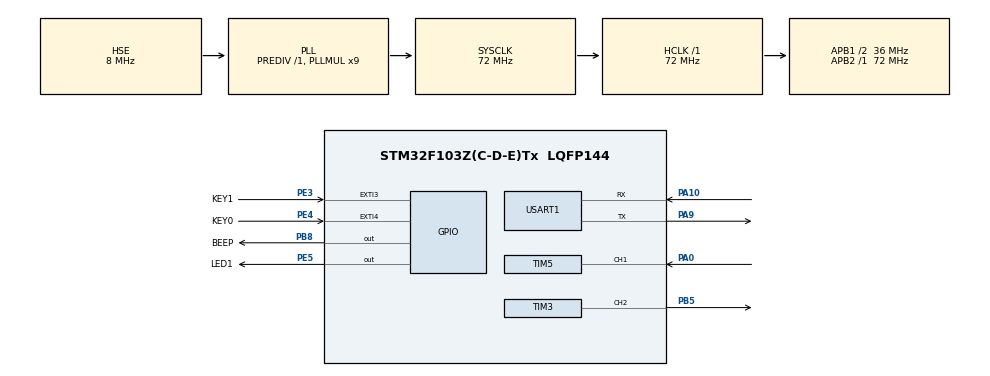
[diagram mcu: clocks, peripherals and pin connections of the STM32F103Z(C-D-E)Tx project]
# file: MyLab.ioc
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IWDG.Prescaler=IWDG_PRESCALER_64
IWDG.Reload=500
Mcu.Family=STM32F1
Mcu.Name=STM32F103Z(C-D-E)Tx
Mcu.Package=LQFP144
NVIC.EXTI3_IRQn=true\:2\:0\:true\:false\:true\:true\:true
NVIC.EXTI4_IRQn=true\:2\:0\:true\:false\:true\:true\:true
NVIC.PriorityGroup=NVIC_PRIORITYGROUP_4
NVIC.TIM3_IRQn=true\:1\:0\:true\:false\:true\:true\:true
NVIC.USART1_IRQn=true\:3\:0\:true\:false\:true\:true\:true
NVIC.WWDG_IRQn=true\:2\:0\:true\:false\:true\:true\:true
OSC_IN.Mode=HSE-External-Oscillator
OSC_IN.Signal=RCC_OSC_IN
OSC_OUT.Mode=HSE-External-Oscillator
OSC_OUT.Signal=RCC_OSC_OUT
PA0-WKUP.GPIO_PuPd=GPIO_PULLDOWN
PA0-WKUP.Signal=S_TIM5_CH1
PA10.Mode=Asynchronous
PA10.Signal=USART1_RX
PA13.Mode=Serial_Wire
PA13.Signal=SYS_JTMS-SWDIO
PA14.Mode=Serial_Wire
PA14.Signal=SYS_JTCK-SWCLK
PA9.Mode=Asynchronous
PA9.Signal=USART1_TX
PB4.Signal=S_TIM3_CH1
PB5.Signal=S_TIM3_CH2
PB8.GPIO_Label=BEEP
PB8.GPIO_PuPd=GPIO_PULLUP
PB8.GPIO_Speed=GPIO_SPEED_FREQ_HIGH
PB8.Signal=GPIO_Output
PE3.GPIO_Label=KEY1
PE3.GPIO_ModeDefaultEXTI=GPIO_MODE_IT_FALLING
PE3.GPIO_PuPd=GPIO_PULLUP
PE3.Signal=GPXTI3
PE4.GPIO_Label=KEY0
PE4.GPIO_ModeDefaultEXTI=GPIO_MODE_IT_FALLING
PE4.GPIO_PuPd=GPIO_PULLUP
PE4.Signal=GPXTI4
PE5.GPIO_Label=LED1
PE5.GPIO_PuPd=GPIO_PULLUP
PE5.GPIO_Speed=GPIO_SPEED_FREQ_HIGH
PE5.PinState=GPIO_PIN_SET
PE5.Signal=GPIO_Output
ProjectManager.HeapSize=0x200
ProjectManager.StackSize=0x400
ProjectManager.TargetToolchain=Makefile
RCC.AHBFreq_Value=72000000
RCC.APB1CLKDivider=RCC_HCLK_DIV2
RCC.APB1Freq_Value=36000000
RCC.APB1TimFreq_Value=72000000
RCC.APB2Freq_Value=72000000
RCC.APB2TimFreq_Value=72000000
RCC.HCLKFreq_Value=72000000
RCC.PLLMUL=RCC_PLL_MUL9
RCC.PLLSourceVirtual=RCC_PLLSOURCE_HSE
RCC.SYSCLKFreq_VALUE=72000000
RCC.SYSCLKSource=RCC_SYSCLKSOURCE_PLLCLK
RCC.USBFreq_Value=72000000
SH.S_TIM3_CH1.0=TIM3_CH1
SH.S_TIM3_CH2.0=TIM3_CH2,PWM Generation2 CH2
SH.S_TIM5_CH1.0=TIM5_CH1,Input_Capture1_from_TI1
TIM3.AutoReloadPreload=TIM_AUTORELOAD_PRELOAD_ENABLE
TIM3.Channel-PWM\ Generation2\ CH2=TIM_CHANNEL_2
TIM3.ClockDivision=TIM_CLOCKDIVISION_DIV1
TIM3.OCPolarity_2=TIM_OCPOLARITY_LOW
TIM3.Period=4999
TIM3.Prescaler=7199
TIM3.Pulse-PWM\ Generation2\ CH2=2500
TIM5.AutoReloadPreload=TIM_AUTORELOAD_PRELOAD_ENABLE
TIM5.Channel-Input_Capture1_from_TI1=TIM_CHANNEL_1
TIM5.Prescaler=71
USART1.VirtualMode=VM_ASYNC
VP_IWDG_VS_IWDG.Mode=IWDG_Activate
VP_TIM3_VS_ClockSourceINT.Mode=Internal
VP_WWDG_VS_WWDG.Mode=WWDG_Activate
WWDG.Counter=127
WWDG.EWIMode=WWDG_EWI_ENABLE
WWDG.Prescaler=WWDG_PRESCALER_8
WWDG.Window=95
board=custom

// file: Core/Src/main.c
/* USER CODE BEGIN Header */
/**
  ******************************************************************************
  * @file           : main.c
  * @brief          : Main program body
  ******************************************************************************
  * @attention
  *
  * <h2><center>&copy; Copyright (c) 2021 STMicroelectronics.
  * All rights reserved.</center></h2>
  *
  * This software component is licensed by ST under BSD 3-Clause license,
  * the "License"; You may not use this file except in compliance with the
  * License. You may obtain a copy of the License at:
  *                        opensource.org/licenses/BSD-3-Clause
  *
  ******************************************************************************
  */
/* USER CODE END Header */
#include "main.h"
#include "iwdg.h"
#include "tim.h"
#include "usart.h"
#include "wwdg.h"
#include "gpio.h"

/* USER CODE BEGIN Includes */
#include "delay.h"
/* USER CODE END Includes */

/* USER CODE BEGIN PV */
uint8_t TIM5CH1_CAPTURE_STA;
uint32_t TIM5CH1_CAPTURE_VAL;
/* USER CODE END PV */

void SystemClock_Config(void);

/* USER CODE BEGIN 0 */
void TIM_SetTIM3Compare2(uint32_t compare)
{
  TIM3->CCR2 = compare;
}
/* USER CODE END 0 */

int main(void)
{
  /* USER CODE BEGIN 1 */
  long long temp = 0;
  /* USER CODE END 1 */

  /* MCU Configuration--------------------------------------------------------*/

  /* Reset of all peripherals, Initializes the Flash interface and the Systick. */
  HAL_Init();

  /* Configure the system clock */
  SystemClock_Config();

  /* Initialize all configured peripherals */
  MX_GPIO_Init();
  MX_USART1_UART_Init();
  //MX_IWDG_Init();
  //MX_WWDG_Init();
  MX_TIM3_Init();
  MX_TIM5_Init();
  /* USER CODE BEGIN 2 */
  //delay_init(72);
  /* USER CODE END 2 */

  /* Infinite loop */
  while (1)
  {
    delay_ms(10);
    TIM_SetTIM3Compare2(HAL_TIM_ReadCapturedValue(&htim3,TIM_CHANNEL_2)+1);
    if(HAL_TIM_ReadCapturedValue(&htim3,TIM_CHANNEL_2) == 300)
    {
      TIM_SetTIM3Compare2(0);
    }
    if(TIM5CH1_CAPTURE_STA & 0x80)
    {
      temp = TIM5CH1_CAPTURE_STA & 0x3F;
      temp *= 65535;
      temp += TIM5CH1_CAPTURE_VAL;
      printf("HIGH: %lld us \r\n", temp);
      TIM5CH1_CAPTURE_STA = 0;
    }
  }
}

void SystemClock_Config(void)
{
  RCC_OscInitTypeDef RCC_OscInitStruct = {0};
  RCC_ClkInitTypeDef RCC_ClkInitStruct = {0};

  /** Initializes the RCC Oscillators according to the specified parameters
  * in the RCC_OscInitTypeDef structure.
  */
  RCC_OscInitStruct.OscillatorType = RCC_OSCILLATORTYPE_LSI|RCC_OSCILLATORTYPE_HSE;
  RCC_OscInitStruct.HSEState = RCC_HSE_ON;
  RCC_OscInitStruct.HSEPredivValue = RCC_HSE_PREDIV_DIV1;
  RCC_OscInitStruct.HSIState = RCC_HSI_ON;
  RCC_OscInitStruct.LSIState = RCC_LSI_ON;
  RCC_OscInitStruct.PLL.PLLState = RCC_PLL_ON;
  RCC_OscInitStruct.PLL.PLLSource = RCC_PLLSOURCE_HSE;
  RCC_OscInitStruct.PLL.PLLMUL = RCC_PLL_MUL9;
  if (HAL_RCC_OscConfig(&RCC_OscInitStruct) != HAL_OK)
  {
    Error_Handler();
  }
  /** Initializes the CPU, AHB and APB buses clocks
  */
  RCC_ClkInitStruct.ClockType = RCC_CLOCKTYPE_HCLK|RCC_CLOCKTYPE_SYSCLK
                              |RCC_CLOCKTYPE_PCLK1|RCC_CLOCKTYPE_PCLK2;
  RCC_ClkInitStruct.SYSCLKSource = RCC_SYSCLKSOURCE_PLLCLK;
  RCC_ClkInitStruct.AHBCLKDivider = RCC_SYSCLK_DIV1;
  RCC_ClkInitStruct.APB1CLKDivider = RCC_HCLK_DIV2;
  RCC_ClkInitStruct.APB2CLKDivider = RCC_HCLK_DIV1;

  if (HAL_RCC_ClockConfig(&RCC_ClkInitStruct, FLASH_LATENCY_2) != HAL_OK)
  {
    Error_Handler();
  }
}

/* USER CODE BEGIN 4 */
void HAL_WWDG_EarlyWakeupCallback(WWDG_HandleTypeDef *hwwdg)
{
  HAL_WWDG_Refresh(hwwdg);
  HAL_GPIO_TogglePin(LED1_GPIO_Port,LED1_Pin);
}

void HAL_TIM_PeriodElapsedCallback(TIM_HandleTypeDef *htim)
{
  if(htim == (&htim3))
  {
    HAL_GPIO_TogglePin(LED1_GPIO_Port,LED1_Pin);
  }
  if(htim == (&htim5))
  {
    if((TIM5CH1_CAPTURE_STA & 0x80) == 0)
    {
      if(TIM5CH1_CAPTURE_STA & 0x40)
      {
        if((TIM5CH1_CAPTURE_STA & 0x3F) == 0x3F)
        {
          TIM5CH1_CAPTURE_STA |= 0x80;
          TIM5CH1_CAPTURE_VAL = 0xFFFF;
        }
        else
          TIM5CH1_CAPTURE_STA++;
      }
    }
  }
}

void HAL_TIM_IC_CaptureCallback(TIM_HandleTypeDef *htim)
{
  if((TIM5CH1_CAPTURE_STA & 0x80) == 0)
  {
    if(TIM5CH1_CAPTURE_STA & 0x40)
    {
      TIM5CH1_CAPTURE_STA |= 0x80;
      TIM5CH1_CAPTURE_VAL = HAL_TIM_ReadCapturedValue(&htim5, TIM_CHANNEL_1);
      TIM_RESET_CAPTUREPOLARITY(&htim5, TIM_CHANNEL_1);
      TIM_SET_CAPTUREPOLARITY(&htim5, TIM_CHANNEL_1, TIM_ICPOLARITY_RISING);
    }
    else
    {
      TIM5CH1_CAPTURE_STA = 0;
      TIM5CH1_CAPTURE_VAL = 0;
      TIM5CH1_CAPTURE_STA |= 0x40;
      __HAL_TIM_DISABLE(&htim5);
      __HAL_TIM_SET_COUNTER(&htim5, 0);
      TIM_RESET_CAPTUREPOLARITY(&htim5, TIM_CHANNEL_1);
      TIM_SET_CAPTUREPOLARITY(&htim5, TIM_CHANNEL_1, TIM_ICPOLARITY_FALLING);
      __HAL_TIM_ENABLE(&htim5);
    }
  }
}
/* USER CODE END 4 */

void Error_Handler(void)
{
  __disable_irq();
  while (1)
  {
  }
}

/************************ (C) COPYRIGHT STMicroelectronics *****END OF FILE****/
